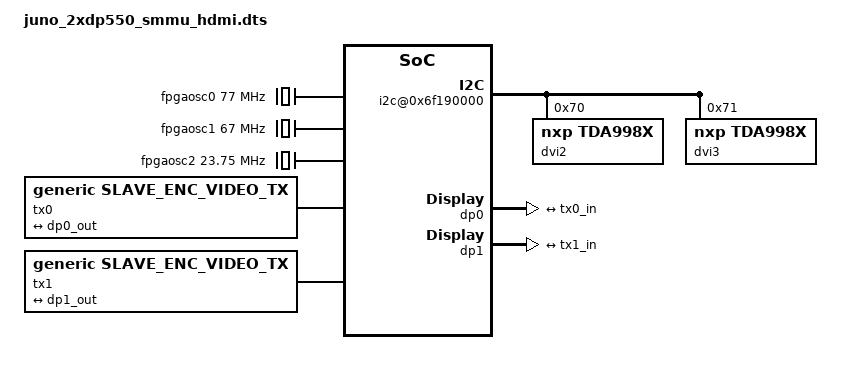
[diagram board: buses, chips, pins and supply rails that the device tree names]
/*
 * ARM Ltd. Juno
 *
 * Juno platform with dual DP-550 in Virtex7 FPGA LogicTile
 *
 */


#include "juno.dts"

/ {

	aliases {
		malidp0 = &dp0;
		malidp1 = &dp1;
	};

	fpgaosc0: fpgaosc@0 {
		/* Internal FPGA 77 MHz clock */
		compatible = "fixed-clock";
		#clock-cells = <0>;
		clock-frequency = <77000000>;
		clock-output-names = "fpga:osc0";
	};

	fpgaosc1: fpgaosc@1 {
		/* Internal FPGA 67 MHz clock */
		compatible = "fixed-clock";
		#clock-cells = <0>;
		clock-frequency = <67000000>;
		clock-output-names = "fpga:osc1";
	};

	fpgaosc2: fpgaosc@2 {
		/* Internal FPGA 23.75 MHz clock */
		compatible = "fixed-clock";
		#clock-cells = <0>;
		clock-frequency = <23750000>;
		clock-output-names = "fpga:osc2";
	};

	dcc_lt {
		compatible = "arm,vexpress,config-bus";
		arm,vexpress,site = <2>;
		arm,vexpress,config-bridge = <&v2m_sysreg>;

		db2oscclk2: osc@2 {
			compatible = "arm,vexpress-osc";
			arm,vexpress-sysreg,func = <1 2>;
			freq-range = <2000000 230000000>;
			#clock-cells = <0>;
			clock-output-names = "db2:osc2";
		};
	};

	i2c@0x6f190000 {
		#address-cells = <1>;
		#size-cells = <0>;
		compatible = "arm,versatile-i2c";
		reg = <0x0 0x6f190000 0x0 0x1000>;

		dvi2: dvi-transmitter@70 {
			compatible = "nxp,tda998x";
			reg = <0x70>;
			video-ports = <0x234501>;
		};

		dvi3: dvi-transmitter@71 {
			compatible = "nxp,tda998x";
			reg = <0x71>;
			video-ports = <0x234501>;
		};
	};

	dp0: display@6f200000 {
		compatible = "arm,mali-dp550";
		reg = <0 0x6f200000 0 0x20000>;
		interrupts = <0 168 4>, <0 168 4>;
		interrupt-names = "DE", "SE";
		clocks = <&db2oscclk2>, <&fpgaosc0>, <&fpgaosc1>, <&fpgaosc1>;
		clock-names = "pxclk", "mclk", "aclk", "pclk";
		de-axi-burst-length = <32>;
		de-axi-outstanding-transactions = <15>;
		se-axi-burst-length = <32>;
		se-axi-outstanding-transactions = <15>;
		se-axi-awqos = <0>;
		se-axi-awcache = <0>;
		#stream-id-cells = <5>;
		port {
			dp0_out: endpoint {
				remote-endpoint = <&tx0_in>;
			};
		};
	};
	dp1: display@6f220000 {
		compatible = "arm,mali-dp550";
		reg = <0 0x6f220000 0 0x20000>;
		interrupts = <0 168 4>, <0 168 4>;
		interrupt-names = "DE", "SE";
		clocks = <&db2oscclk2>, <&fpgaosc0>, <&fpgaosc1>, <&fpgaosc1>;
		clock-names = "pxclk", "mclk", "aclk", "pclk";
		de-axi-burst-length = <32>;
		de-axi-outstanding-transactions = <15>;
		se-axi-burst-length = <32>;
		se-axi-outstanding-transactions = <15>;
		se-axi-awqos = <0>;
		se-axi-awcache = <0>;
		#stream-id-cells = <5>;
		port {
			dp1_out: endpoint {
				remote-endpoint = <&tx1_in>;
			};
		};
	};

	test-transmitters {
		compatible = "simple-bus";
		#address-cells = <1>;
		#size-cells = <0>;

		tx0: video_tx@0 {
			compatible = "generic,slave_enc_video_tx";
			reg = <0>;
			i2c-slave = <&dvi2>;
			type = "HDMI";
			type-idx = <0>;
			port {
				tx0_in: endpoint {
					remote-endpoint = <&dp0_out>;
				};
			};
		};
		tx1: video_tx@1 {
			compatible = "generic,slave_enc_video_tx";
			reg = <1>;
			i2c-slave = <&dvi3>;
			type = "HDMI";
			type-idx = <1>;
			port {
				tx1_in: endpoint {
					remote-endpoint = <&dp1_out>;
				};
			};
		};
	};
	smmu@6f300000 {
		compatible = "arm,mmu-500";
		reg = <0 0x6f300000 0 0x10000>;
		#global-interrupts = <1>;
		interrupts = <0 168 4>, <0 168 4>, <0 168 4>;
		mmu-masters = <&dp0 0x008 0x09 0x0a 0xb 0xc>,
					<&dp1 0x408 0x409 0x40a 0x40b 0x40c>;
		status = "disabled";
	};
};





